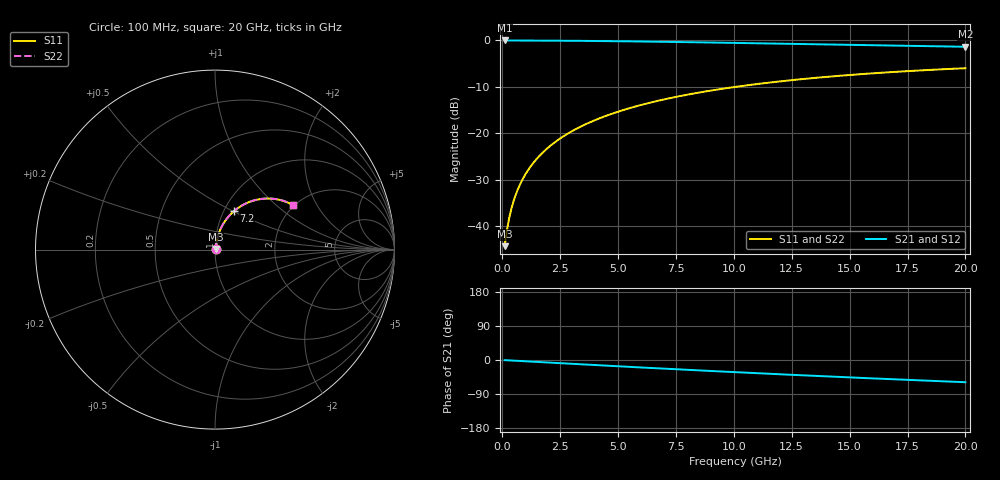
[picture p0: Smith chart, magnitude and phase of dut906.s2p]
! Touchstone file exported from HFSS 2026.1.0
!  File:  C:/ffzhzh/LocalFiles/Ansys_Project_Files/temp_train_BSMRDL_906_1783171490_22436.aedt
!  Generated:  09:26:19 PM Jul  4, 2026
!  Design:  BSMRDL
!  Project:  temp_train_BSMRDL_906_1783171490_22436
! Variables:
!  h_bsmrdl = 3.79um
!  h_ox = 20um
!  h_rdl = 5um
!  h_sub = 80um
!  h_tmrdl = 5um
!  h_tsv = 80um
!  h_via = 3um
!  l_bsmrdl = 914.96um
!  l_sub = 1314.96um
!  l_tmrdl = 200um
!  m_sub = 200um
!  pitch = 45.17um
!  r_tsv = 6um
!  s_tmrdl = 10um
!  w_bsmrdl = 18.57um
!  w_sub = 500um
!  w_tmrdl = 12um
!  x_tsv_center1 = 206um
!  x_tsv_center2 = 1139.53um
!  x_tsv_center3 = 1351.53um
!  x_tsv_center4 = 2285.06um
!  x_tsv_center5 = 2497.06um
!  x_tsv_center6 = 3430.59um
# GHz S MA R 50.000000
! Terminal data exported
! Port[1] = BSM_RDL1_1_T1
! Port[2] = BSM_RDL1_1_T2
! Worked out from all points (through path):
!   200 points, 100 MHz to 20 GHz, reference 50 ohm
!   highest |S21| = -0.04 dB at 100 MHz (marker M1); lowest = -1.4 dB at 20 GHz (marker M2)
!   group delay of S21, straight-line fit = 8.14 ps
!   lowest |S11| = -44.3 dB at 100 MHz (marker M3), VSWR 1.01, Z = 50.5 + j0.383 ohm
!   |S11| at or under -10 dB: start of sweep to 10.12 GHz
!   |S22| runs from -44.3 to -6.0 dB; largest |S21 - S12| = 2.8e-15
!   S11 on the Smith chart (normalised r, x): 100 MHz: 1.01, +0.01; 7.2 GHz: 1.11, +0.50; 20 GHz: 1.96, +1.30
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0.1  0.006072 38.7  0.9953 -0.4  0.9953 -0.4  0.006072 38.7
! Gamma 0 0 0 0
! Port Impedance 50 0 50 0
0.2  0.009005 56.3  0.9951 -0.7  0.9951 -0.7  0.009005 56.3
0.3  0.01228 64.4  0.9948 -1.0  0.9948 -1.0  0.01228 64.4
0.4  0.01563 68.8  0.9946 -1.4  0.9946 -1.4  0.01563 68.8
0.5  0.019 71.7  0.9944 -1.7  0.9944 -1.7  0.019 71.7
0.6  0.02239 73.6  0.9942 -2.1  0.9942 -2.1  0.02239 73.6
0.8  0.02921 76.0  0.9939 -2.7  0.9939 -2.7  0.02921 76.0
1.1  0.03952 77.7  0.9933 -3.7  0.9933 -3.7  0.03952 77.7
1.3  0.04642 78.2  0.9929 -4.4  0.9929 -4.4  0.04642 78.2
1.6  0.05679 78.4  0.9922 -5.4  0.9922 -5.4  0.05679 78.4
2.1  0.07401 77.9  0.9908 -7.1  0.9908 -7.1  0.07401 77.9
2.7  0.09451 76.8  0.9887 -9.1  0.9887 -9.1  0.09451 76.8
3.5  0.1214 74.7  0.9851 -11.7  0.9851 -11.7  0.1214 74.8
4.2  0.1445 72.8  0.9814 -14.0  0.9814 -14.0  0.1445 72.8
5  0.1702 70.4  0.9766 -16.6  0.9766 -16.6  0.1702 70.5
6.8  0.2254 65.1  0.9639 -22.2  0.9639 -22.2  0.2254 65.1
7.2  0.2371 63.9  0.9608 -23.5  0.9608 -23.5  0.2371 64.0
8.6  0.2764 59.8  0.9494 -27.8  0.9494 -27.8  0.2764 59.9
10.1  0.3157 55.5  0.9363 -32.2  0.9363 -32.2  0.3157 55.6
13.4  0.3914 46.4  0.9065 -41.6  0.9065 -41.6  0.3914 46.5
16.7  0.4526 37.8  0.8774 -50.4  0.8774 -50.4  0.4526 38.0
20  0.5003 29.8  0.8514 -58.6  0.8514 -58.6  0.5003 29.9
